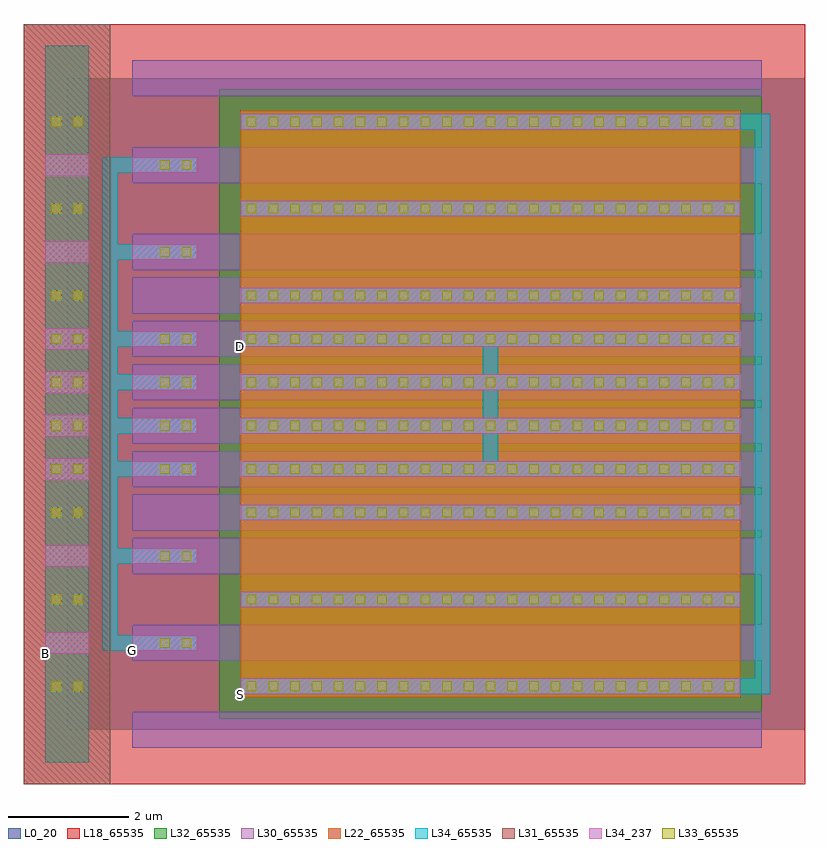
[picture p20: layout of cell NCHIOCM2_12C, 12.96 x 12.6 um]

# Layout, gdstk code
import gdstk
lib = gdstk.Library(unit=1e-6, precision=1e-09)
def R(c, l, rs):  # rectangles x0, y0, x1, y1
    for r in rs: c.add(gdstk.rectangle(r[:2], r[2:], *l))
def A(c, l, x, y, w, h, nx, ny, dx, dy):  # array of equal rectangles
    R(c, l, [(x+i*dx, y+j*dy, x+i*dx+w, y+j*dy+h) for i in range(nx) for j in range(ny)])
L0_20 = (0, 20)
L18_65535 = (18, 65535)
L22_65535 = (22, 65535)
L30_65535 = (30, 65535)
L31_65535 = (31, 65535)
L32_65535 = (32, 65535)
L33_65535 = (33, 65535)
L34_237 = (34, 237)
L34_65535 = (34, 65535)

nchio_12c = lib.new_cell('NCHIO_12C')
R(nchio_12c, L0_20, [(0,0,12.24,2.88)])
R(nchio_12c, L18_65535, [(-0.72,-0.9,12.24,3.78)])
A(nchio_12c, L22_65535, -0.36, -0.54, 0.72, 0.36, 1, 11, 0, 0.36)
A(nchio_12c, L22_65535, 2.88, 0.54, 8.28, 0.36, 1, 5, 0, 0.36)
A(nchio_12c, L30_65535, 1.08, -0.3, 10.44, 0.6, 1, 3, 0, 1.44)
R(nchio_12c, L31_65535, [(-0.72,-0.9,0.72,3.78)])
R(nchio_12c, L32_65535, [(2.52,0.18,11.52,2.7)])
A(nchio_12c, L33_65535, 2.98, 0.64, 0.16, 0.16, 23, 2, 0.36, 1.44)
R(nchio_12c, L33_65535, [(-0.26,0.64,-0.1,0.8), (0.1,0.64,0.26,0.8), (1.54,1.36,1.7,1.52), (1.9,1.36,2.06,1.52), (-0.26,2.08,-0.1,2.24), (0.1,2.08,0.26,2.24)])
R(nchio_12c, L34_237, [(2.88,0.59,11.16,0.85), (-0.36,1.26,0.36,1.62), (1.08,1.31,2.16,1.57), (2.88,2.03,11.16,2.29)])
A(nchio_12c, L34_65535, -0.36, -0.54, 0.72, 0.36, 1, 11, 0, 0.36)
R(nchio_12c, L34_65535, [(2.88,0.59,11.16,0.85), (1.08,1.31,2.16,1.57), (2.88,2.03,11.16,2.29)])
nchio_12c.add(gdstk.Label('G', (1.08,1.31), layer=34, texttype=237))
nchio_12c.add(gdstk.Label('S', (2.88,0.59), layer=34, texttype=237))
nchio_12c.add(gdstk.Label('B', (-0.36,1.26), layer=34, texttype=237))
nchio_12c.add(gdstk.Label('D', (2.88,2.03), layer=34, texttype=237))

nchiocm_12c = lib.new_cell('NCHIOCM_12C')
R(nchiocm_12c, L0_20, [(0,0,12.24,7.2)])
R(nchiocm_12c, L34_237, [(2.88,0.59,11.16,0.85), (1.08,1.31,2.16,1.57), (2.88,6.35,11.16,6.61)])
A(nchiocm_12c, L34_65535, 0.58, 1.31, 1.04, 0.26, 1, 4, 0, 1.44)
R(nchiocm_12c, L34_65535, [(0.58,1.31,0.84,5.89)])
nchiocm_12c.add(gdstk.Reference(nchio_12c, (0,0)))
nchiocm_12c.add(gdstk.Reference(nchio_12c, (0,1.44)))
nchiocm_12c.add(gdstk.Reference(nchio_12c, (0,2.88)))
nchiocm_12c.add(gdstk.Reference(nchio_12c, (0,4.32)))
nchiocm_12c.add(gdstk.Label('G', (1.08,1.31), layer=58, texttype=65535))
nchiocm_12c.add(gdstk.Label('D', (2.88,6.35), layer=34, texttype=237))
nchiocm_12c.add(gdstk.Label('G', (1.08,1.31), layer=34, texttype=237))
nchiocm_12c.add(gdstk.Label('S', (2.88,0.59), layer=34, texttype=237))

nchiocm2_12c = lib.new_cell('NCHIOCM2_12C')
R(nchiocm2_12c, L0_20, [(0,0,12.24,10.8)])
R(nchiocm2_12c, L34_237, [(2.88,0.59,11.16,0.85), (-0.36,1.26,0.36,1.62), (1.08,1.31,2.16,1.57), (2.88,6.35,11.16,6.61)])
R(nchiocm2_12c, L34_65535, [(7.02,0.59,11.4,0.85), (11.4,0.59,11.66,10.21), (0.58,1.31,1.62,1.57), (0.58,1.31,0.84,5.17), (6.89,4.19,7.15,6.61), (0.58,4.91,1.62,5.17), (7.02,9.95,11.4,10.21)])
nchiocm2_12c.add(gdstk.Reference(nchiocm_12c, (0,0)))
nchiocm2_12c.add(gdstk.Reference(nchiocm_12c, (0,3.6)))
nchiocm2_12c.add(gdstk.Label('S', (2.88,0.59), layer=58, texttype=65535))
nchiocm2_12c.add(gdstk.Label('G', (1.08,1.31), layer=58, texttype=65535))
nchiocm2_12c.add(gdstk.Label('D', (2.88,6.35), layer=58, texttype=65535))
nchiocm2_12c.add(gdstk.Label('B', (-0.36,1.26), layer=34, texttype=237))
nchiocm2_12c.add(gdstk.Label('D', (2.88,6.35), layer=34, texttype=237))
nchiocm2_12c.add(gdstk.Label('G', (1.08,1.31), layer=34, texttype=237))
nchiocm2_12c.add(gdstk.Label('S', (2.88,0.59), layer=34, texttype=237))

lib.write_gds('NCHIOCM2_12C.gds')
